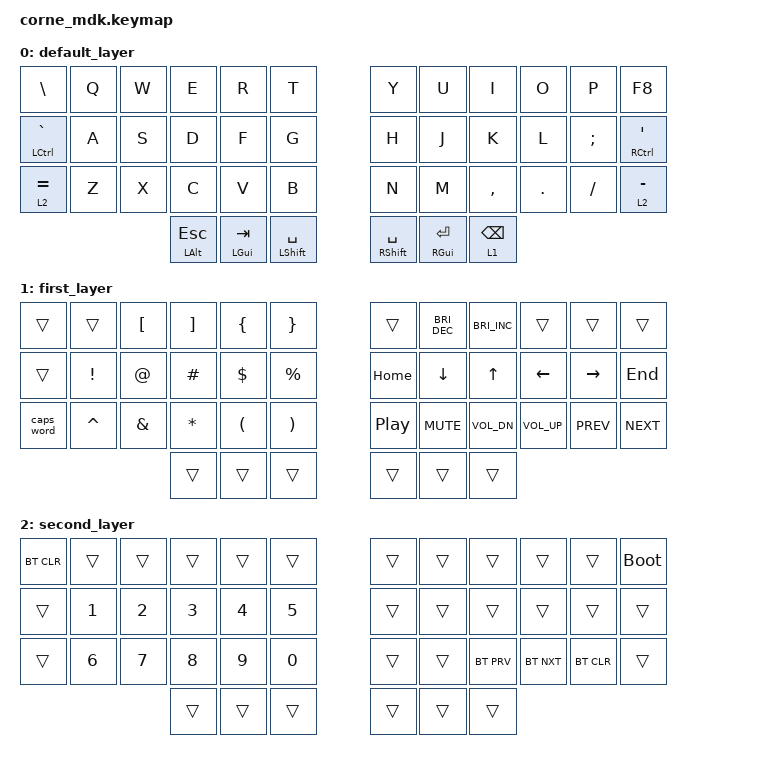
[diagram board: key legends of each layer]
/*
 * Copyright (c) 2020 The ZMK Contributors
 *
 * SPDX-License-Identifier: MIT
 */

#include <behaviors.dtsi>
#include <dt-bindings/zmk/keys.h>
#include <dt-bindings/zmk/bt.h>

/ {
        keymap {
                compatible = "zmk,keymap";

                default_layer {
// -----------------------------------------------------------------------------------------
// |  TAB |  Q  |  W  |  E  |  R  |  T  |   |  Y  |  U   |  I  |  O  |  P  | BKSP |
// | CTRL |  A  |  S  |  D  |  F  |  G  |   |  H  |  J   |  K  |  L  |  ;  |  '   |
// | SHFT |  Z  |  X  |  C  |  V  |  B  |   |  N  |  M   |  ,  |  .  |  /  | ESC  |
//                    | GUI | LWR | SPC |   | ENT | RSE  | ALT |
                        bindings = <
   &kp BSLH        &kp Q &kp W &kp E &kp R &kp T   &kp Y &kp U  &kp I     &kp O   &kp P    &kp F8
   &mt LCTRL GRAVE &kp A &kp S &kp D &kp F &kp G   &kp H &kp J  &kp K     &kp L   &kp SEMI &mt RCTRL SQT
   &lt 2 EQUAL     &kp Z &kp X &kp C &kp V &kp B   &kp N &kp M  &kp COMMA &kp DOT &kp FSLH &lt 2 MINUS
   &mt LALT ESC    &mt LGUI TAB &mt LSHIFT SPACE   &mt RSHIFT SPACE &mt RGUI RET &lt 1 BSPC
                        >;
                };
                first_layer {
// -----------------------------------------------------------------------------------------
// |  TAB |  1  |  2  |  3  |  4  |  5  |   |  6  |  7  |  8  |  9  |  0  | BKSP |
// | BTCLR| BT1 | BT2 | BT3 | BT4 | BT5 |   | LFT | DWN |  UP | RGT |     |      |
// | SHFT |     |     |     |     |     |   |     |     |     |     |     |      |
//                    | GUI |     | SPC |   | ENT |     | ALT |
                        bindings = <
   &trans     &trans       &kp LBKT     &kp RBKT     &kp LBRC     &kp RBRC         &trans   &kp C_BRI_DEC &kp C_BRI_INC &trans    &trans &trans
   &trans     &kp EXCL     &kp AT       &kp HASH     &kp DLLR     &kp PRCNT        &kp HOME &kp DOWN      &kp UP        &kp LEFT &kp RIGHT &kp END
   &caps_word &kp CARET    &kp AMPS     &kp STAR     &kp LPAR     &kp RPAR         &kp C_PP &kp K_MUTE    &kp C_VOL_DN  &kp C_VOL_UP &kp C_PREV &kp C_NEXT
                                        &trans       &trans       &trans           &trans  &trans    &trans
                        >;
                };

                second_layer {
// -----------------------------------------------------------------------------------------
// |  TAB |  !  |  @  |  #  |  $  |  %  |   |  ^  |  &  |  *  |  (  |  )  | BKSP |
// | CTRL |     |     |     |     |     |   |  -  |  =  |  [  |  ]  |  \  |  `   |
// | SHFT |     |     |     |     |     |   |  _  |  +  |  {  |  }  | "|" |  ~   |
//                    | GUI |     | SPC |   | ENT |     | ALT |
                        bindings = <
   &bt BT_CLR &trans &trans &trans &trans &trans   &trans &trans &trans     &trans     &trans     &bootloader
   &trans &kp N1 &kp N2 &kp N3 &kp N4 &kp N5   &trans &trans &trans     &trans     &trans     &trans
   &trans &kp N6 &kp N7 &kp N8 &kp N9 &kp N0   &trans &trans &bt BT_PRV &bt BT_NXT &bt BT_CLR &trans
                        &trans &trans &trans   &trans &trans &trans
                        >;
                };
        };
};
